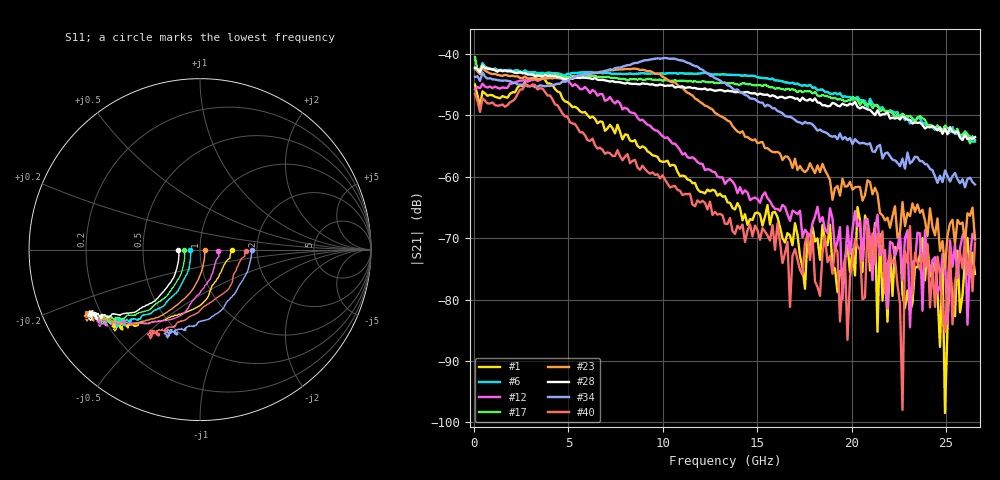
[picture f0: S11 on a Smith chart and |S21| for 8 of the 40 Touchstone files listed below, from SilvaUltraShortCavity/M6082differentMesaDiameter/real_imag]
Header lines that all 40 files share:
!  2-Port S-parameters saved by WinCal
! VAR MeasName=S-Parameters (CALIBRATED_DATA) read from VNA (C)
! VAR PHYS_PORTS=2,1
! VAR ObjTypeName=DATASET
! VAR IndexType=Frequency
# Hz S RI R 50
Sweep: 45 MHz to 26.55 GHz
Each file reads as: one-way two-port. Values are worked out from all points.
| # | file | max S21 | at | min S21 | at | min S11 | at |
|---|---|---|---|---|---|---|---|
| 1 | M6082_10_13_2_2_20C_1.4mA_-17.5dBm.S2P | -43.83 dB | 3.623 GHz | -98.5 dB | 24.95 GHz | -15.6 dB | 840 MHz |
| 2 | M6082_10_13_2_2_20C_1.8mA_-17.5dBm.S2P | -42.20 dB | 45 MHz | -80.7 dB | 25.62 GHz | -19.9 dB | 177.5 MHz |
| 3 | M6082_10_13_2_2_20C_2.5mA_-17.5dBm.S2P | -40.86 dB | 8.393 GHz | -71.0 dB | 24.95 GHz | -26.3 dB | 45 MHz |
| 4 | M6082_10_13_2_2_20C_3.5mA_-17.5dBm.S2P | -41.40 dB | 45 MHz | -61.8 dB | 24.95 GHz | -39.4 dB | 45 MHz |
| 5 | M6082_10_13_2_2_20C_4.8mA_-17.5dBm.S2P | -40.21 dB | 45 MHz | -57.3 dB | 25.75 GHz | -32.3 dB | 45 MHz |
| 6 | M6082_10_13_2_2_20C_6.4mA_-17.5dBm.S2P | -41.47 dB | 442.5 MHz | -54.3 dB | 26.41 GHz | -25.1 dB | 177.5 MHz |
| 7 | M6082_10_13_2_2_20C_8.3mA_-17.5dBm.S2P | -41.49 dB | 442.5 MHz | -52.5 dB | 26.41 GHz | -21.6 dB | 310 MHz |
| 8 | M6082_10_13_2_2_20C_10.4mA_-17.5dBm.S2P | -41.37 dB | 45 MHz | -51.7 dB | 26.55 GHz | -19.5 dB | 310 MHz |
| 9 | M6082_10_13_2_2_20C_12.9mA_-17.5dBm.S2P | -42.70 dB | 442.5 MHz | -52.0 dB | 26.55 GHz | -18.1 dB | 442.5 MHz |
| 10 | M6082_10_13_2_2_20C_15.6mA_-17.5dBm.S2P | -43.43 dB | 442.5 MHz | -53.9 dB | 26.41 GHz | -17.4 dB | 442.5 MHz |
| 11 | M6082_10_15_2_2_20C_1.4mA_-17.5dBm.S2P | -46.26 dB | 2.828 GHz | -94.2 dB | 23.63 GHz | -14.7 dB | 575 MHz |
| 12 | M6082_10_15_2_2_20C_1.8mA_-17.5dBm.S2P | -43.35 dB | 4.152 GHz | -84.5 dB | 23.1 GHz | -19.4 dB | 45 MHz |
| 13 | M6082_10_15_2_2_20C_2.5mA_-17.5dBm.S2P | -42.69 dB | 8.525 GHz | -74.4 dB | 25.88 GHz | -27.2 dB | 45 MHz |
| 14 | M6082_10_15_2_2_20C_3.5mA_-17.5dBm.S2P | -42.20 dB | 9.453 GHz | -64.3 dB | 24.43 GHz | -43.6 dB | 45 MHz |
| 15 | M6082_10_15_2_2_20C_4.8mA_-17.5dBm.S2P | -41.88 dB | 442.5 MHz | -59.0 dB | 25.88 GHz | -29.8 dB | 45 MHz |
| 16 | M6082_10_15_2_2_20C_6.4mA_-17.5dBm.S2P | -41.66 dB | 442.5 MHz | -55.9 dB | 26.55 GHz | -24.0 dB | 177.5 MHz |
| 17 | M6082_10_15_2_2_20C_8.3mA_-17.5dBm.S2P | -40.53 dB | 45 MHz | -54.5 dB | 26.28 GHz | -20.9 dB | 177.5 MHz |
| 18 | M6082_10_15_2_2_20C_10.4mA_-17.5dBm.S2P | -42.05 dB | 442.5 MHz | -53.4 dB | 26.55 GHz | -18.9 dB | 310 MHz |
| 19 | M6082_10_15_2_2_20C_12.9mA_-17.5dBm.S2P | -42.22 dB | 45 MHz | -53.4 dB | 26.55 GHz | -17.6 dB | 310 MHz |
| 20 | M6082_10_15_2_2_20C_15.6mA_-17.5dBm.S2P | -43.52 dB | 442.5 MHz | -54.6 dB | 26.55 GHz | -16.8 dB | 442.5 MHz |
| 21 | M6082_10_17_2_2_20C_1.4mA_-17.5dBm.S2P | -44.09 dB | 45 MHz | -98.4 dB | 23.23 GHz | -15.1 dB | 575 MHz |
| 22 | M6082_10_17_2_2_20C_1.8mA_-17.5dBm.S2P | -42.26 dB | 45 MHz | -82.8 dB | 24.95 GHz | -21.7 dB | 45 MHz |
| 23 | M6082_10_17_2_2_20C_2.5mA_-17.5dBm.S2P | -42.16 dB | 442.5 MHz | -74.8 dB | 24.95 GHz | -30.8 dB | 45 MHz |
| 24 | M6082_10_17_2_2_20C_3.5mA_-17.5dBm.S2P | -41.78 dB | 442.5 MHz | -66.3 dB | 26.28 GHz | -39.8 dB | 45 MHz |
| 25 | M6082_10_17_2_2_20C_4.8mA_-17.5dBm.S2P | -40.80 dB | 45 MHz | -60.3 dB | 26.28 GHz | -27.1 dB | 45 MHz |
| 26 | M6082_10_17_2_2_20C_6.4mA_-17.5dBm.S2P | -41.07 dB | 45 MHz | -57.6 dB | 26.55 GHz | -22.6 dB | 45 MHz |
| 27 | M6082_10_17_2_2_20C_8.3mA_-17.5dBm.S2P | -41.83 dB | 442.5 MHz | -54.7 dB | 26.55 GHz | -20.0 dB | 177.5 MHz |
| 28 | M6082_10_17_2_2_20C_10.4mA_-17.5dBm.S2P | -41.86 dB | 442.5 MHz | -54.0 dB | 25.88 GHz | -18.1 dB | 177.5 MHz |
| 29 | M6082_10_17_2_2_20C_12.9mA_-17.5dBm.S2P | -42.02 dB | 442.5 MHz | -54.1 dB | 26.41 GHz | -16.9 dB | 177.5 MHz |
| 30 | M6082_10_17_2_2_20C_15.6mA_-17.5dBm.S2P | -44.40 dB | 2.033 GHz | -55.7 dB | 26.28 GHz | -16.1 dB | 310 MHz |
| 31 | M6082_13_13_2_2_20C_1.4mA_-17.5dBm 2_1_1.S2P | -43.62 dB | 3.623 GHz | -89.6 dB | 21.77 GHz | -6.9 dB | 7.465 GHz |
| 32 | M6082_13_13_2_2_20C_1.8mA_-17.5dBm_1_1.S2P | -42.15 dB | 5.345 GHz | -82.5 dB | 24.69 GHz | -7.8 dB | 3.357 GHz |
| 33 | M6082_13_13_2_2_20C_2.5mA_-17.5dBm_1_1.S2P | -40.95 dB | 8.393 GHz | -68.3 dB | 21.91 GHz | -9.0 dB | 3.357 GHz |
| 34 | M6082_13_13_2_2_20C_3.5mA_-17.5dBm_1_1.S2P | -40.64 dB | 10.12 GHz | -61.7 dB | 26.02 GHz | -10.4 dB | 1.502 GHz |
| 35 | M6082_13_13_2_2_20C_4.8mA_-17.5dBm_1_1.S2P | -41.78 dB | 11.44 GHz | -56.7 dB | 26.41 GHz | -12.3 dB | 707.5 MHz |
| 36 | M6082_13_13_2_2_20C_6.4mA_-17.5dBm_1_1.S2P | -41.33 dB | 45 MHz | -53.6 dB | 26.28 GHz | -14.6 dB | 45 MHz |
| 37 | M6082_13_13_2_2_20C_8.3mA_-17.5dBm_1_1.S2P | -41.63 dB | 45 MHz | -52.5 dB | 26.55 GHz | -17.3 dB | 45 MHz |
| 38 | M6082_13_13_2_2_20C_10.0mA_-17.5dBm_1_1.S2P | -42.46 dB | 442.5 MHz | -52.2 dB | 26.55 GHz | -19.8 dB | 45 MHz |
| 39 | M6082_13_13_2_2_20C_10.4mA_-17.5dBm_1_1.S2P | -42.68 dB | 442.5 MHz | -52.1 dB | 26.55 GHz | -20.3 dB | 45 MHz |
| 40 | M6082_13_15_2_2_20C_1.4mA_-17.5dBm.S2P | -44.96 dB | 3.092 GHz | -98.0 dB | 22.7 GHz | -12.4 dB | 1.502 GHz |
